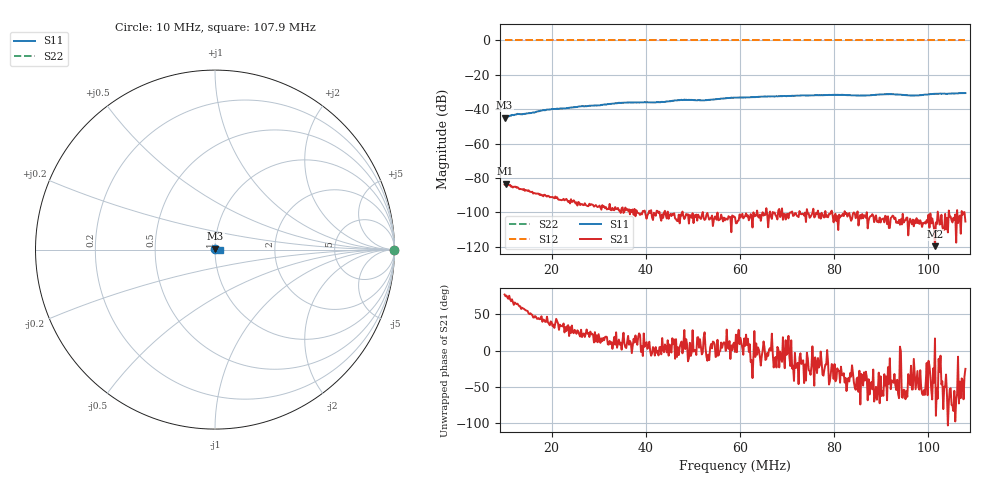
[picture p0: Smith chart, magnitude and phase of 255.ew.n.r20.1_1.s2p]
! Anritsu VNA Master:  Model: MS2036C/10/77
! SN:  1601066
! /card0/usr/255.ew.n.r20.1_1.s2p
! Existing Calibration Information:
! TYPE:  Current Settings,  Active Cal Settings
! TIME:  12/17/2017 06:44:17 PM,  12/17/2017 06:38:14 PM
! INTERNAL TEMP:  43.8 C,  43.8 C
! # POINTS:  501,  501
! START FREQ:  10.000 MHz,  10.000 MHz
! STOP FREQ:  107.903 125 MHz,  107.903 125 MHz
! SOURCE POWER:  High,  High
! IFBW:  100 Hz,  100 Hz
! AVG FACTOR:  1 ,  1
! REF PLANE 1:  0 mm,  0 mm
! REF PLANE 2:  0 mm,  0 mm
! CAL TYPE:  Full S11,  Full S11
! CAL METHOD:  SOLT,  SOLT
! CAL LINE TYPE:  Coax,  Coax
! DUT PORT 1:  N-Conn(F),  N-Conn(F)
! DUT PORT 2:  K-Conn(F),  K-Conn(F)
! CAL STATUS:  OK: Accuracy High,  --
# GHZ S DB R 50.0
! FREQ.GHZ  S11DB  S11A  S21DB  S21A  S12DB  S12A  S22DB  S22A
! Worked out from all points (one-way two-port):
!   501 points, 10 MHz to 107.9 MHz, reference 50 ohm
!   highest |S21| = -83.40 dB at 10.2 MHz (marker M1); lowest = -119.7 dB at 101.4 MHz (marker M2)
!   lowest |S11| = -44.9 dB at 10 MHz (marker M3), VSWR 1.01, Z = 50.3 + j0.505 ohm
!   |S11| at or under -10 dB: start of sweep to end of sweep
!   |S22| runs from 0.0 to 0.0 dB; largest |S21 - S12| = 1
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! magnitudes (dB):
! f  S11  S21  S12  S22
! 10 MHz  -44.9  -83.9  0.0  0.0
! 10.2 MHz  -44.5  -83.4  0.0  0.0
! 12.55 MHz  -43.0  -85.7  0.0  0.0
! 13.92 MHz  -42.8  -86.9  0.0  0.0
! 15.48 MHz  -42.3  -88.1  0.0  0.0
! 18.62 MHz  -40.6  -89.9  0.0  0.0
! 20.38 MHz  -39.8  -91.4  0.0  0.0
! 23.12 MHz  -39.4  -92.2  0.0  0.0
! 26.45 MHz  -38.3  -95.2  0.0  0.0
! 29.97 MHz  -37.7  -96.7  0.0  0.0
! 34.67 MHz  -36.3  -100.4  0.0  0.0
! 42.7 MHz  -35.9  -100.5  0.0  0.0
! 47.2 MHz  -34.8  -106.5  0.0  0.0
! 52.29 MHz  -34.9  -103.5  0.0  0.0
! 59.15 MHz  -33.3  -106.4  0.0  0.0
! 75.4 MHz  -32.0  -100.4  0.0  0.0
! 80.29 MHz  -31.6  -100.9  0.0  0.0
! 86.17 MHz  -32.0  -103.5  0.0  0.0
! 91.65 MHz  -31.2  -109.2  0.0  0.0
! 96.74 MHz  -32.0  -104.3  0.0  0.0
! 101.4 MHz  -31.1  -119.7  0.0  0.0
! 107.9 MHz  -30.6  -105.4  0.0  0.0
